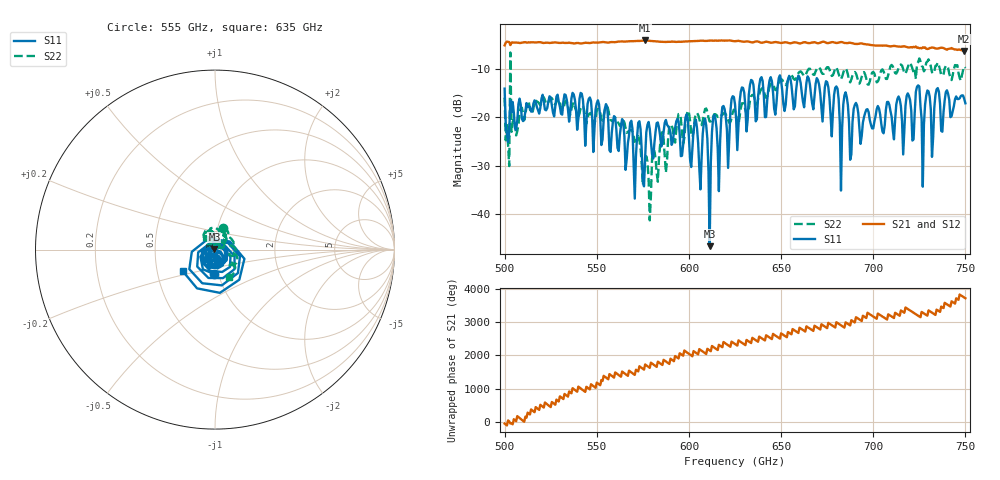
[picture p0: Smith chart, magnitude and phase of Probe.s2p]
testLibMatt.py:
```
import skrf as mv
import numpy as np
import ctypes as C

a = mv.Network("Probe.s2p")
b = mv.Network("Probe.s2p")


matt = np.ctypeslib.load_library('libconnect.so.1.0.1', '.')


freq = a.f
nFreq = a.f.shape[-1]

A = a.s
nA = 2
k = 1

B = b.s
nB = 2
l = 0

mattResult = B.copy()
mattResult = mattResult*0
nResult = 2

mvResult = B.copy()
mvResult = mvResult*0


def foo2():
    mvResult = mv.connect_s(A, k, B, l)



def foo():
    matt.connect_s(freq.ctypes.data_as(C.POINTER(C.c_float)), nFreq, A.ctypes.data_as(C.POINTER(C.c_float)), nA, k, B.ctypes.data_as(C.POINTER(C.c_float)), nB, l, mattResult.ctypes.data_as(C.POINTER(C.c_float)), nResult)


import timeit
t = timeit.Timer(setup='from __main__ import foo', stmt='foo()')
t2 = timeit.Timer(setup='from __main__ import foo2', stmt='foo2()')

print t.timeit(10)
print t2.timeit(10)


mvResult = mv.connect_s(A, k, B, l)

print
print mattResult[0]
print
print mvResult[0]
print
print mattResult[201]
print
print mvResult[201]
print
print mattResult[400]
print
print mvResult[400]
print
```
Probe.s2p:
# GHz S RI R 50.0
!freq	ReS11	ImS11	ReS21	ImS21	ReS12	ImS12	ReS22	ImS22
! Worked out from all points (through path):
!   401 points, 500 GHz to 750 GHz, reference 50 ohm
!   highest |S21| = -4.18 dB at 576.2 GHz (marker M1); lowest = -6.3 dB at 749.4 GHz (marker M2)
!   lowest |S11| = -46.5 dB at 611.2 GHz (marker M3), VSWR 1.01, Z = 49.7 + j0.332 ohm
!   |S11| at or under -10 dB: start of sweep to end of sweep
!   |S22| runs from -41.2 to -6.7 dB; largest |S21 - S12| = 0
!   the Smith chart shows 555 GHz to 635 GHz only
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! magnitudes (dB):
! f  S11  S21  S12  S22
! 500 GHz  -14.1  -5.2  -5.2  -16.0
! 555.6 GHz  -17.8  -4.6  -4.6  -17.7
! 576.2 GHz  -28.2  -4.2  -4.2  -29.3
! 598.8 GHz  -19.4  -4.4  -4.4  -19.6
! 606.2 GHz  -34.8  -4.2  -4.2  -21.3
! 608.8 GHz  -20.3  -4.3  -4.3  -18.3
! 611.2 GHz  -46.5  -4.2  -4.2  -20.9
! 613.8 GHz  -19.5  -4.2  -4.2  -19.3
! 625 GHz  -17.3  -4.3  -4.3  -18.7
! 749.4 GHz  -16.2  -6.3  -6.3  -9.5
! 750 GHz  -17.1  -6.3  -6.3  -9.8
